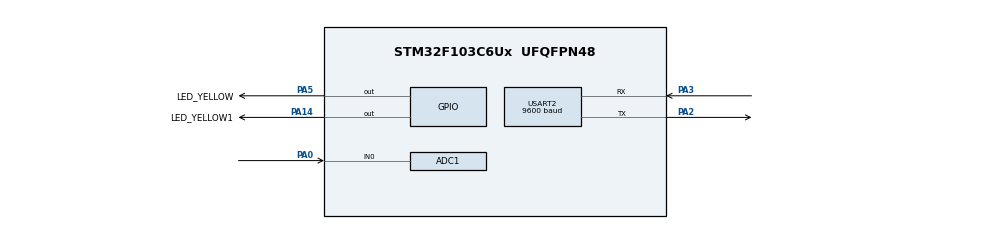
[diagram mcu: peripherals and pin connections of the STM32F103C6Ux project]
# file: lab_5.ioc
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ADC1.Channel-0\#ChannelRegularConversion=ADC_CHANNEL_0
ADC1.ContinuousConvMode=ENABLE
ADC1.NbrOfConversionFlag=1
ADC1.Rank-0\#ChannelRegularConversion=1
ADC1.SamplingTime-0\#ChannelRegularConversion=ADC_SAMPLETIME_1CYCLE_5
ADC1.master=1
Mcu.Family=STM32F1
Mcu.Name=STM32F103C6Ux
Mcu.Package=UFQFPN48
NVIC.PriorityGroup=NVIC_PRIORITYGROUP_4
NVIC.TIM2_IRQn=true\:0\:0\:false\:false\:true\:true\:true\:true
NVIC.USART2_IRQn=true\:0\:0\:false\:false\:true\:true\:true\:true
PA0-WKUP.Signal=ADCx_IN0
PA14.GPIO_Label=LED_YELLOW1
PA14.Signal=GPIO_Output
PA2.Mode=Asynchronous
PA2.Signal=USART2_TX
PA3.Mode=Asynchronous
PA3.Signal=USART2_RX
PA5.GPIO_Label=LED_YELLOW
PA5.Signal=GPIO_Output
ProjectManager.HeapSize=0x200
ProjectManager.StackSize=0x400
ProjectManager.TargetToolchain=STM32CubeIDE
RCC.APB1Freq_Value=8000000
RCC.APB2Freq_Value=8000000
SH.ADCx_IN0.0=ADC1_IN0,IN0
TIM2.Period=9
TIM2.Prescaler=7999
USART2.BaudRate=9600
USART2.VirtualMode=VM_ASYNC
VP_SYS_VS_ND.Mode=No_Debug
VP_TIM2_VS_ClockSourceINT.Mode=Internal
board=custom

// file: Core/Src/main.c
/* USER CODE BEGIN Header */
/**
  ******************************************************************************
  * @file           : main.c
  * @brief          : Main program body
  ******************************************************************************
  * @attention
  *
  * Copyright (c) 2024 STMicroelectronics.
  * All rights reserved.
  *
  * This software is licensed under terms that can be found in the LICENSE file
  * in the root directory of this software component.
  * If no LICENSE file comes with this software, it is provided AS-IS.
  *
  ******************************************************************************
  */
/* USER CODE END Header */
#include "main.h"

/* USER CODE BEGIN Includes */
#include "stdio.h"
#include"software_timer.h"
#include"global.h"
#include"fsm_cp.h"
#include"fsm_uart.h"
/* USER CODE END Includes */

ADC_HandleTypeDef hadc1;

TIM_HandleTypeDef htim2;

UART_HandleTypeDef huart2;

void SystemClock_Config(void);
static void MX_GPIO_Init(void);
static void MX_ADC1_Init(void);
static void MX_USART2_UART_Init(void);
static void MX_TIM2_Init(void);

/* USER CODE BEGIN 0 */

void HAL_UART_RxCpltCallback(UART_HandleTypeDef * huart) {
	if(huart->Instance == USART2){
		buffer[index_buffer++] = temp;
		if(index_buffer == MAX_BUFFER_SIZE) index_buffer = 0;
		buffer_flag = 1;
		HAL_UART_Transmit(&huart2, &temp, 1, 50);
		HAL_UART_Receive_IT(&huart2, &temp, 1);
	}
}
/* USER CODE END 0 */

int main(void)
{

  /* MCU Configuration--------------------------------------------------------*/

  /* Reset of all peripherals, Initializes the Flash interface and the Systick. */
  HAL_Init();

  /* Configure the system clock */
  SystemClock_Config();

  /* Initialize all configured peripherals */
  MX_GPIO_Init();
  MX_ADC1_Init();
  MX_USART2_UART_Init();
  MX_TIM2_Init();

  /* Infinite loop */
  /* USER CODE BEGIN WHILE */
  HAL_TIM_Base_Start_IT(&htim2);
  HAL_UART_Receive_IT(&huart2, &temp, 1);
  status_cp = cp_get_first;
  status_uart = rst_true;
  while (1)
  {
	  if(buffer_flag == 1){
		  fsm_cp_run();
		  buffer_flag = 0;
	  }
	  fsm_uart_run(hadc1, huart2);
    /* USER CODE END WHILE */

  }
}

void SystemClock_Config(void)
{
  RCC_OscInitTypeDef RCC_OscInitStruct = {0};
  RCC_ClkInitTypeDef RCC_ClkInitStruct = {0};
  RCC_PeriphCLKInitTypeDef PeriphClkInit = {0};

  /** Initializes the RCC Oscillators according to the specified parameters
  * in the RCC_OscInitTypeDef structure.
  */
  RCC_OscInitStruct.OscillatorType = RCC_OSCILLATORTYPE_HSI;
  RCC_OscInitStruct.HSIState = RCC_HSI_ON;
  RCC_OscInitStruct.HSICalibrationValue = RCC_HSICALIBRATION_DEFAULT;
  RCC_OscInitStruct.PLL.PLLState = RCC_PLL_NONE;
  if (HAL_RCC_OscConfig(&RCC_OscInitStruct) != HAL_OK)
  {
    Error_Handler();
  }

  /** Initializes the CPU, AHB and APB buses clocks
  */
  RCC_ClkInitStruct.ClockType = RCC_CLOCKTYPE_HCLK|RCC_CLOCKTYPE_SYSCLK
                              |RCC_CLOCKTYPE_PCLK1|RCC_CLOCKTYPE_PCLK2;
  RCC_ClkInitStruct.SYSCLKSource = RCC_SYSCLKSOURCE_HSI;
  RCC_ClkInitStruct.AHBCLKDivider = RCC_SYSCLK_DIV1;
  RCC_ClkInitStruct.APB1CLKDivider = RCC_HCLK_DIV1;
  RCC_ClkInitStruct.APB2CLKDivider = RCC_HCLK_DIV1;

  if (HAL_RCC_ClockConfig(&RCC_ClkInitStruct, FLASH_LATENCY_0) != HAL_OK)
  {
    Error_Handler();
  }
  PeriphClkInit.PeriphClockSelection = RCC_PERIPHCLK_ADC;
  PeriphClkInit.AdcClockSelection = RCC_ADCPCLK2_DIV2;
  if (HAL_RCCEx_PeriphCLKConfig(&PeriphClkInit) != HAL_OK)
  {
    Error_Handler();
  }
}

static void MX_ADC1_Init(void)
{

  ADC_ChannelConfTypeDef sConfig = {0};

  /** Common config
  */
  hadc1.Instance = ADC1;
  hadc1.Init.ScanConvMode = ADC_SCAN_DISABLE;
  hadc1.Init.ContinuousConvMode = ENABLE;
  hadc1.Init.DiscontinuousConvMode = DISABLE;
  hadc1.Init.ExternalTrigConv = ADC_SOFTWARE_START;
  hadc1.Init.DataAlign = ADC_DATAALIGN_RIGHT;
  hadc1.Init.NbrOfConversion = 1;
  if (HAL_ADC_Init(&hadc1) != HAL_OK)
  {
    Error_Handler();
  }

  /** Configure Regular Channel
  */
  sConfig.Channel = ADC_CHANNEL_0;
  sConfig.Rank = ADC_REGULAR_RANK_1;
  sConfig.SamplingTime = ADC_SAMPLETIME_1CYCLE_5;
  if (HAL_ADC_ConfigChannel(&hadc1, &sConfig) != HAL_OK)
  {
    Error_Handler();
  }

}

static void MX_TIM2_Init(void)
{

  TIM_ClockConfigTypeDef sClockSourceConfig = {0};
  TIM_MasterConfigTypeDef sMasterConfig = {0};

  htim2.Instance = TIM2;
  htim2.Init.Prescaler = 7999;
  htim2.Init.CounterMode = TIM_COUNTERMODE_UP;
  htim2.Init.Period = 9;
  htim2.Init.ClockDivision = TIM_CLOCKDIVISION_DIV1;
  htim2.Init.AutoReloadPreload = TIM_AUTORELOAD_PRELOAD_DISABLE;
  if (HAL_TIM_Base_Init(&htim2) != HAL_OK)
  {
    Error_Handler();
  }
  sClockSourceConfig.ClockSource = TIM_CLOCKSOURCE_INTERNAL;
  if (HAL_TIM_ConfigClockSource(&htim2, &sClockSourceConfig) != HAL_OK)
  {
    Error_Handler();
  }
  sMasterConfig.MasterOutputTrigger = TIM_TRGO_RESET;
  sMasterConfig.MasterSlaveMode = TIM_MASTERSLAVEMODE_DISABLE;
  if (HAL_TIMEx_MasterConfigSynchronization(&htim2, &sMasterConfig) != HAL_OK)
  {
    Error_Handler();
  }

}

static void MX_USART2_UART_Init(void)
{

  huart2.Instance = USART2;
  huart2.Init.BaudRate = 9600;
  huart2.Init.WordLength = UART_WORDLENGTH_8B;
  huart2.Init.StopBits = UART_STOPBITS_1;
  huart2.Init.Parity = UART_PARITY_NONE;
  huart2.Init.Mode = UART_MODE_TX_RX;
  huart2.Init.HwFlowCtl = UART_HWCONTROL_NONE;
  huart2.Init.OverSampling = UART_OVERSAMPLING_16;
  if (HAL_UART_Init(&huart2) != HAL_OK)
  {
    Error_Handler();
  }

}

static void MX_GPIO_Init(void)
{
  GPIO_InitTypeDef GPIO_InitStruct = {0};

  /* GPIO Ports Clock Enable */
  __HAL_RCC_GPIOA_CLK_ENABLE();

  /*Configure GPIO pin Output Level */
  HAL_GPIO_WritePin(GPIOA, LED_YELLOW_Pin|LED_YELLOW1_Pin, GPIO_PIN_RESET);

  /*Configure GPIO pins : LED_YELLOW_Pin LED_YELLOW1_Pin */
  GPIO_InitStruct.Pin = LED_YELLOW_Pin|LED_YELLOW1_Pin;
  GPIO_InitStruct.Mode = GPIO_MODE_OUTPUT_PP;
  GPIO_InitStruct.Pull = GPIO_NOPULL;
  GPIO_InitStruct.Speed = GPIO_SPEED_FREQ_LOW;
  HAL_GPIO_Init(GPIOA, &GPIO_InitStruct);

}

/* USER CODE BEGIN 4 */
void HAL_TIM_PeriodElapsedCallback(TIM_HandleTypeDef *htim){
	timerRun();
}
/* USER CODE END 4 */

void Error_Handler(void)
{
  __disable_irq();
  while (1)
  {
  }
}
